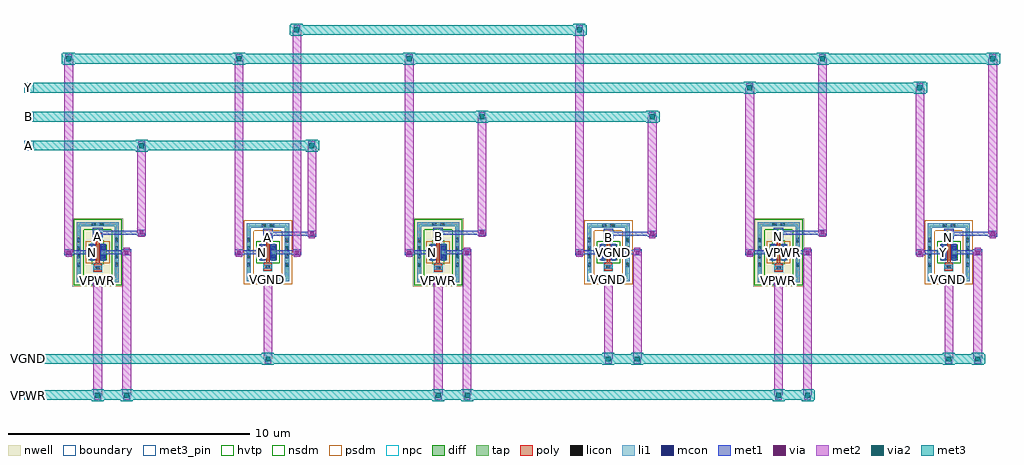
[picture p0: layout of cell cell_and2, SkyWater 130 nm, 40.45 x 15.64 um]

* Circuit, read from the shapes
.subckt cell_and2 A B N N1__N1 VGND VPWR Y
XM1 N1__N1 A N VGND sky130_fd_pr__nfet_01v8 w=0.65 l=0.15
XM2 VGND B N1__N1 VGND sky130_fd_pr__nfet_01v8 w=0.65 l=0.15
XM3 VGND N Y VGND sky130_fd_pr__nfet_01v8 w=0.65 l=0.15
XM4 VPWR A N VPWR sky130_fd_pr__pfet_01v8_hvt w=0.65 l=0.15
XM5 VPWR B N VPWR sky130_fd_pr__pfet_01v8_hvt w=0.65 l=0.15
XM6 VPWR N Y VPWR sky130_fd_pr__pfet_01v8_hvt w=0.65 l=0.15
.ends

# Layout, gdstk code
import gdstk
lib = gdstk.Library(unit=1e-6, precision=1e-09)
def R(c, l, rs):  # rectangles x0, y0, x1, y1
    for r in rs: c.add(gdstk.rectangle(r[:2], r[2:], *l))
def A(c, l, x, y, w, h, nx, ny, dx, dy):  # array of equal rectangles
    R(c, l, [(x+i*dx, y+j*dy, x+i*dx+w, y+j*dy+h) for i in range(nx) for j in range(ny)])
nwell = (64, 20)
diff = (65, 20)
tap = (65, 44)
poly = (66, 20)
licon = (66, 44)
li1 = (67, 20)
mcon = (67, 44)
met1 = (68, 20)
via = (68, 44)
met2 = (69, 20)
via2 = (69, 44)
met3_pin = (70, 16)
met3 = (70, 20)
hvtp = (78, 44)
nsdm = (93, 44)
psdm = (94, 20)
npc = (95, 20)
boundary = (235, 4)

cell_and2 = lib.new_cell('cell_and2')
A(cell_and2, nwell, 0, -1.42, 2.11, 2.84, 3, 1, 14.11, 0)
A(cell_and2, diff, 0.69, -0.325, 0.73, 0.65, 6, 1, 7.055, 0)
A(cell_and2, tap, 0.18, -1.24, 1.75, 0.17, 3, 2, 14.11, 2.31)
A(cell_and2, tap, 7.235, -1.195, 1.75, 0.17, 3, 2, 14.11, 2.22)
R(cell_and2, tap, [(0.18,-1.07,0.35,1.07), (1.76,-1.07,1.93,1.07), (14.29,-1.07,14.46,1.07), (15.87,-1.07,16.04,1.07), (28.4,-1.07,28.57,1.07), (29.98,-1.07,30.15,1.07), (7.235,-1.025,7.405,1.025), (8.815,-1.025,8.985,1.025), (21.345,-1.025,21.515,1.025), (22.925,-1.025,23.095,1.025), (35.455,-1.025,35.625,1.025), (37.035,-1.025,37.205,1.025)])
A(cell_and2, poly, 0.89, -0.81, 0.33, 0.33, 3, 2, 14.11, 1.29)
A(cell_and2, poly, 7.945, -0.765, 0.33, 0.33, 3, 2, 14.11, 1.2)
A(cell_and2, poly, 0.98, -0.48, 0.15, 0.96, 3, 1, 14.11, 0)
A(cell_and2, poly, 8.035, -0.435, 0.15, 0.87, 3, 1, 14.11, 0)
A(cell_and2, licon, 0.97, -0.73, 0.17, 0.17, 3, 2, 14.11, 1.29)
A(cell_and2, licon, 8.025, -0.685, 0.17, 0.17, 3, 2, 14.11, 1.2)
A(cell_and2, licon, 0.18, -0.595, 0.17, 0.17, 1, 4, 0, 0.34)
A(cell_and2, licon, 1.76, -0.595, 0.17, 0.17, 1, 4, 0, 0.34)
A(cell_and2, licon, 7.235, -0.595, 0.17, 0.17, 1, 4, 0, 0.34)
A(cell_and2, licon, 8.815, -0.595, 0.17, 0.17, 1, 4, 0, 0.34)
A(cell_and2, licon, 14.29, -0.595, 0.17, 0.17, 1, 4, 0, 0.34)
A(cell_and2, licon, 15.87, -0.595, 0.17, 0.17, 1, 4, 0, 0.34)
A(cell_and2, licon, 21.345, -0.595, 0.17, 0.17, 1, 4, 0, 0.34)
A(cell_and2, licon, 22.925, -0.595, 0.17, 0.17, 1, 4, 0, 0.34)
A(cell_and2, licon, 28.4, -0.595, 0.17, 0.17, 1, 4, 0, 0.34)
A(cell_and2, licon, 29.98, -0.595, 0.17, 0.17, 1, 4, 0, 0.34)
A(cell_and2, licon, 35.455, -0.595, 0.17, 0.17, 1, 4, 0, 0.34)
A(cell_and2, licon, 37.035, -0.595, 0.17, 0.17, 1, 4, 0, 0.34)
R(cell_and2, licon, [(0.8,-1.24,0.97,-1.07), (1.14,-1.24,1.31,-1.07), (14.91,-1.24,15.08,-1.07), (15.25,-1.24,15.42,-1.07), (29.02,-1.24,29.19,-1.07), (29.36,-1.24,29.53,-1.07), (7.855,-1.195,8.025,-1.025), (8.195,-1.195,8.365,-1.025), (21.965,-1.195,22.135,-1.025), (22.305,-1.195,22.475,-1.025), (36.075,-1.195,36.245,-1.025), (36.415,-1.195,36.585,-1.025), (0.75,-0.255,0.92,-0.085), (1.19,-0.255,1.36,-0.085), (7.805,-0.255,7.975,-0.085), (8.245,-0.255,8.415,-0.085), (14.86,-0.255,15.03,-0.085), (15.3,-0.255,15.47,-0.085), (21.915,-0.255,22.085,-0.085), (22.355,-0.255,22.525,-0.085), (28.97,-0.255,29.14,-0.085), (29.41,-0.255,29.58,-0.085), (36.025,-0.255,36.195,-0.085), (36.465,-0.255,36.635,-0.085), (0.75,0.085,0.92,0.255), (1.19,0.085,1.36,0.255), (7.805,0.085,7.975,0.255), (8.245,0.085,8.415,0.255), (14.86,0.085,15.03,0.255), (15.3,0.085,15.47,0.255), (21.915,0.085,22.085,0.255), (22.355,0.085,22.525,0.255), (28.97,0.085,29.14,0.255), (29.41,0.085,29.58,0.255), (36.025,0.085,36.195,0.255), (36.465,0.085,36.635,0.255), (7.855,1.025,8.025,1.195), (8.195,1.025,8.365,1.195), (21.965,1.025,22.135,1.195), (22.305,1.025,22.475,1.195), (36.075,1.025,36.245,1.195), (36.415,1.025,36.585,1.195), (0.8,1.07,0.97,1.24), (1.14,1.07,1.31,1.24), (14.91,1.07,15.08,1.24), (15.25,1.07,15.42,1.24), (29.02,1.07,29.19,1.24), (29.36,1.07,29.53,1.24)])
A(cell_and2, li1, 0.18, -1.24, 1.75, 0.17, 3, 2, 14.11, 2.31)
A(cell_and2, li1, 7.235, -1.195, 1.75, 0.17, 3, 2, 14.11, 2.22)
A(cell_and2, li1, 0.89, -0.73, 0.33, 0.17, 3, 2, 14.11, 1.29)
A(cell_and2, li1, 7.945, -0.685, 0.33, 0.17, 3, 2, 14.11, 1.2)
A(cell_and2, li1, 8.025, 0.515, 0.17, 0.34, 3, 1, 14.11, 0)
A(cell_and2, li1, 0.97, 0.56, 0.17, 0.34, 3, 1, 14.11, 0)
R(cell_and2, li1, [(0.18,-1.07,0.35,1.07), (1.76,-1.07,1.93,1.07), (14.29,-1.07,14.46,1.07), (15.87,-1.07,16.04,1.07), (28.4,-1.07,28.57,1.07), (29.98,-1.07,30.15,1.07), (7.235,-1.025,7.405,1.025), (8.815,-1.025,8.985,1.025), (21.345,-1.025,21.515,1.025), (22.925,-1.025,23.095,1.025), (35.455,-1.025,35.625,1.025), (37.035,-1.025,37.205,1.025), (0.75,-0.345,0.92,0.345), (1.19,-0.345,1.36,0.345), (7.805,-0.345,7.975,0.345), (8.245,-0.345,8.415,0.345), (14.86,-0.345,15.03,0.345), (15.3,-0.345,15.47,0.345), (21.915,-0.345,22.085,0.345), (22.355,-0.345,22.525,0.345), (28.97,-0.345,29.14,0.345), (29.41,-0.345,29.58,0.345), (36.025,-0.345,36.195,0.345), (36.465,-0.345,36.635,0.345)])
A(cell_and2, mcon, 0.97, -1.24, 0.17, 0.17, 3, 2, 14.11, 1.97)
A(cell_and2, mcon, 8.025, -1.195, 0.17, 0.17, 3, 2, 14.11, 1.88)
R(cell_and2, mcon, [(0.75,-0.265,0.92,-0.095), (1.19,-0.265,1.36,-0.095), (7.805,-0.265,7.975,-0.095), (8.245,-0.265,8.415,-0.095), (14.86,-0.265,15.03,-0.095), (15.3,-0.265,15.47,-0.095), (21.915,-0.265,22.085,-0.095), (22.355,-0.265,22.525,-0.095), (28.97,-0.265,29.14,-0.095), (29.41,-0.265,29.58,-0.095), (36.025,-0.265,36.195,-0.095), (36.465,-0.265,36.635,-0.095), (0.75,0.095,0.92,0.265), (1.19,0.095,1.36,0.265), (7.805,0.095,7.975,0.265), (8.245,0.095,8.415,0.265), (14.86,0.095,15.03,0.265), (15.3,0.095,15.47,0.265), (21.915,0.095,22.085,0.265), (22.355,0.095,22.525,0.265), (28.97,0.095,29.14,0.265), (29.41,0.095,29.58,0.265), (36.025,0.095,36.195,0.265), (36.465,0.095,36.635,0.265)])
A(cell_and2, met1, 0.855, -1.355, 0.4, 0.4, 3, 2, 14.11, 1.97)
A(cell_and2, met1, 7.91, -1.31, 0.4, 0.4, 3, 2, 14.11, 1.88)
A(cell_and2, met1, 0.875, -1.285, 0.36, 0.26, 3, 1, 14.11, 0)
A(cell_and2, met1, 7.93, -1.24, 0.36, 0.26, 3, 1, 14.11, 0)
A(cell_and2, met1, 9.75, 0.64, 0.36, 0.26, 3, 1, 14.11, 0)
A(cell_and2, met1, 2.695, 0.685, 0.36, 0.26, 3, 1, 14.11, 0)
R(cell_and2, met1, [(0.72,-0.325,0.95,0.325), (1.16,-0.325,1.39,0.325), (7.775,-0.325,8.005,0.325), (8.215,-0.325,8.445,0.325), (14.83,-0.325,15.06,0.325), (15.27,-0.325,15.5,0.325), (21.885,-0.325,22.115,0.325), (22.325,-0.325,22.555,0.325), (28.94,-0.325,29.17,0.325), (29.38,-0.325,29.61,0.325), (35.995,-0.325,36.225,0.325), (36.435,-0.325,36.665,0.325), (-0.325,-0.13,0.035,0.13), (2.075,-0.13,2.435,0.13), (6.73,-0.13,7.09,0.13), (9.13,-0.13,9.49,0.13), (13.785,-0.13,14.145,0.13), (16.185,-0.13,16.545,0.13), (20.84,-0.13,21.2,0.13), (23.24,-0.13,23.6,0.13), (27.895,-0.13,28.255,0.13), (30.295,-0.13,30.655,0.13), (34.95,-0.13,35.31,0.13), (37.35,-0.13,37.71,0.13)])
A(cell_and2, via, 0.98, -1.23, 0.15, 0.15, 3, 1, 14.11, 0)
A(cell_and2, via, 8.035, -1.185, 0.15, 0.15, 3, 1, 14.11, 0)
A(cell_and2, via, 9.855, 0.695, 0.15, 0.15, 3, 1, 14.11, 0)
A(cell_and2, via, 2.8, 0.74, 0.15, 0.15, 3, 1, 14.11, 0)
R(cell_and2, via, [(-0.22,-0.075,-0.07,0.075), (2.18,-0.075,2.33,0.075), (6.835,-0.075,6.985,0.075), (9.235,-0.075,9.385,0.075), (13.89,-0.075,14.04,0.075), (16.29,-0.075,16.44,0.075), (20.945,-0.075,21.095,0.075), (23.345,-0.075,23.495,0.075), (28,-0.075,28.15,0.075), (30.4,-0.075,30.55,0.075), (35.055,-0.075,35.205,0.075), (37.455,-0.075,37.605,0.075)])
A(cell_and2, met2, 0.925, -1.335, 0.26, 0.36, 3, 1, 14.11, 0)
A(cell_and2, met2, 7.98, -1.29, 0.26, 0.36, 3, 1, 14.11, 0)
A(cell_and2, met2, 9.8, 0.59, 0.26, 0.36, 3, 1, 14.11, 0)
A(cell_and2, met2, 2.745, 0.635, 0.26, 0.36, 3, 1, 14.11, 0)
A(cell_and2, met2, -0.285, 7.83, 0.28, 0.38, 3, 1, 7.055, 0)
R(cell_and2, met2, [(0.915,-6.11,1.195,-5.73), (2.115,-6.11,2.395,-5.73), (15.025,-6.11,15.305,-5.73), (16.225,-6.11,16.505,-5.73), (29.135,-6.11,29.415,-5.73), (30.335,-6.11,30.615,-5.73), (7.97,-4.61,8.25,-4.23), (22.08,-4.61,22.36,-4.23), (23.28,-4.61,23.56,-4.23), (36.19,-4.61,36.47,-4.23), (37.39,-4.61,37.67,-4.23), (-0.275,-0.18,-0.015,0.18), (2.125,-0.18,2.385,0.18), (6.78,-0.18,7.04,0.18), (9.18,-0.18,9.44,0.18), (13.835,-0.18,14.095,0.18), (16.235,-0.18,16.495,0.18), (20.89,-0.18,21.15,0.18), (23.29,-0.18,23.55,0.18), (27.945,-0.18,28.205,0.18), (30.345,-0.18,30.605,0.18), (35,-0.18,35.26,0.18), (37.4,-0.18,37.66,0.18), (2.735,4.23,3.015,4.61), (9.79,4.23,10.07,4.61), (16.845,5.43,17.125,5.81), (23.9,5.43,24.18,5.81), (27.935,6.63,28.215,7.01), (34.99,6.63,35.27,7.01), (30.955,7.83,31.235,8.21), (38.01,7.83,38.29,8.21), (9.17,9.03,9.45,9.41), (20.88,9.03,21.16,9.41)])
A(cell_and2, via2, -0.245, 7.92, 0.2, 0.2, 3, 1, 7.055, 0)
R(cell_and2, via2, [(0.955,-6.02,1.155,-5.82), (2.155,-6.02,2.355,-5.82), (15.065,-6.02,15.265,-5.82), (16.265,-6.02,16.465,-5.82), (29.175,-6.02,29.375,-5.82), (30.375,-6.02,30.575,-5.82), (8.01,-4.52,8.21,-4.32), (22.12,-4.52,22.32,-4.32), (23.32,-4.52,23.52,-4.32), (36.23,-4.52,36.43,-4.32), (37.43,-4.52,37.63,-4.32), (2.775,4.32,2.975,4.52), (9.83,4.32,10.03,4.52), (16.885,5.52,17.085,5.72), (23.94,5.52,24.14,5.72), (27.975,6.72,28.175,6.92), (35.03,6.72,35.23,6.92), (30.995,7.92,31.195,8.12), (38.05,7.92,38.25,8.12), (9.21,9.12,9.41,9.32), (20.92,9.12,21.12,9.32)])
A(cell_and2, met3_pin, -2, 4.22, 0.4, 0.4, 1, 3, 0, 1.2)
R(cell_and2, met3_pin, [(-2,-6.12,-1.6,-5.72), (-2,-4.62,-1.6,-4.22)])
A(cell_and2, met3, -0.395, 7.77, 0.5, 0.5, 3, 1, 7.055, 0)
R(cell_and2, met3, [(0.805,-6.17,1.305,-5.67), (2.005,-6.17,2.505,-5.67), (14.915,-6.17,15.415,-5.67), (16.115,-6.17,16.615,-5.67), (29.025,-6.17,29.525,-5.67), (30.225,-6.17,30.725,-5.67), (7.86,-4.67,8.36,-4.17), (21.97,-4.67,22.47,-4.17), (23.17,-4.67,23.67,-4.17), (36.08,-4.67,36.58,-4.17), (37.28,-4.67,37.78,-4.17), (2.625,4.17,3.125,4.67), (9.68,4.17,10.18,4.67), (16.735,5.37,17.235,5.87), (23.79,5.37,24.29,5.87), (27.825,6.57,28.325,7.07), (34.88,6.57,35.38,7.07), (30.845,7.77,31.345,8.27), (37.9,7.77,38.4,8.27), (9.06,8.97,9.56,9.47), (20.77,8.97,21.27,9.47)])
A(cell_and2, hvtp, 0.8, -0.505, 0.51, 1.01, 3, 1, 14.11, 0)
A(cell_and2, nsdm, 0.055, -1.365, 2, 0.42, 3, 2, 14.11, 2.31)
A(cell_and2, nsdm, 7.62, -0.45, 0.98, 0.9, 3, 1, 14.11, 0)
R(cell_and2, nsdm, [(0.055,-0.945,0.475,0.945), (1.635,-0.945,2.055,0.945), (14.165,-0.945,14.585,0.945), (15.745,-0.945,16.165,0.945), (28.275,-0.945,28.695,0.945), (29.855,-0.945,30.275,0.945)])
A(cell_and2, psdm, 7.11, -1.32, 2, 0.42, 3, 2, 14.11, 2.22)
A(cell_and2, psdm, 0.565, -0.45, 0.98, 0.9, 3, 1, 14.11, 0)
R(cell_and2, psdm, [(7.11,-0.9,7.53,0.9), (8.69,-0.9,9.11,0.9), (21.22,-0.9,21.64,0.9), (22.8,-0.9,23.22,0.9), (35.33,-0.9,35.75,0.9), (36.91,-0.9,37.33,0.9)])
A(cell_and2, npc, 0.87, -0.83, 0.37, 0.37, 3, 2, 14.11, 1.29)
A(cell_and2, npc, 7.925, -0.785, 0.37, 0.37, 3, 2, 14.11, 1.2)
A(cell_and2, boundary, 0.265, -1.155, 1.58, 2.31, 3, 1, 14.11, 0)
A(cell_and2, boundary, 7.32, -1.11, 1.58, 2.22, 3, 1, 14.11, 0)
cell_and2.add(gdstk.FlexPath([(36.55,0),(37.53,0)], 0.17, ends="flush", simple_path=True, layer=68, datatype=20))  # met1
cell_and2.add(gdstk.FlexPath([(29.275,-1.155),(29.275,-1.155)], 0.17, ends="flush", simple_path=True, layer=68, datatype=20))  # met1
cell_and2.add(gdstk.FlexPath([(29.275,0.815),(31.095,0.815)], 0.17, ends="flush", simple_path=True, layer=68, datatype=20))  # met1
cell_and2.add(gdstk.FlexPath([(29.055,0),(28.075,0)], 0.17, ends="flush", simple_path=True, layer=68, datatype=20))  # met1
cell_and2.add(gdstk.FlexPath([(22.44,0),(23.42,0)], 0.17, ends="flush", simple_path=True, layer=68, datatype=20))  # met1
cell_and2.add(gdstk.FlexPath([(22.22,0.77),(24.04,0.77)], 0.17, ends="flush", simple_path=True, layer=68, datatype=20))  # met1
cell_and2.add(gdstk.FlexPath([(36.33,-1.11),(36.33,-1.11)], 0.17, ends="flush", simple_path=True, layer=68, datatype=20))  # met1
cell_and2.add(gdstk.FlexPath([(29.495,0),(30.475,0)], 0.17, ends="flush", simple_path=True, layer=68, datatype=20))  # met1
cell_and2.add(gdstk.FlexPath([(0.835,0),(-0.145,0)], 0.17, ends="flush", simple_path=True, layer=68, datatype=20))  # met1
cell_and2.add(gdstk.FlexPath([(14.945,0),(13.965,0)], 0.17, ends="flush", simple_path=True, layer=68, datatype=20))  # met1
cell_and2.add(gdstk.FlexPath([(1.055,0.815),(2.875,0.815)], 0.17, ends="flush", simple_path=True, layer=68, datatype=20))  # met1
cell_and2.add(gdstk.FlexPath([(36.33,0.77),(38.15,0.77)], 0.17, ends="flush", simple_path=True, layer=68, datatype=20))  # met1
cell_and2.add(gdstk.FlexPath([(1.275,0),(2.255,0)], 0.17, ends="flush", simple_path=True, layer=68, datatype=20))  # met1
cell_and2.add(gdstk.FlexPath([(15.165,-1.155),(15.165,-1.155)], 0.17, ends="flush", simple_path=True, layer=68, datatype=20))  # met1
cell_and2.add(gdstk.FlexPath([(7.89,0),(6.91,0)], 0.17, ends="flush", simple_path=True, layer=68, datatype=20))  # met1
cell_and2.add(gdstk.FlexPath([(1.055,-1.155),(1.055,-1.155)], 0.17, ends="flush", simple_path=True, layer=68, datatype=20))  # met1
cell_and2.add(gdstk.FlexPath([(8.11,0.77),(9.93,0.77)], 0.17, ends="flush", simple_path=True, layer=68, datatype=20))  # met1
cell_and2.add(gdstk.FlexPath([(36.11,0),(35.13,0)], 0.17, ends="flush", simple_path=True, layer=68, datatype=20))  # met1
cell_and2.add(gdstk.FlexPath([(8.33,0),(9.31,0)], 0.17, ends="flush", simple_path=True, layer=68, datatype=20))  # met1
cell_and2.add(gdstk.FlexPath([(8.11,-1.11),(8.11,-1.11)], 0.17, ends="flush", simple_path=True, layer=68, datatype=20))  # met1
cell_and2.add(gdstk.FlexPath([(22.22,-1.11),(22.22,-1.11)], 0.17, ends="flush", simple_path=True, layer=68, datatype=20))  # met1
cell_and2.add(gdstk.FlexPath([(22,0),(21.02,0)], 0.17, ends="flush", simple_path=True, layer=68, datatype=20))  # met1
cell_and2.add(gdstk.FlexPath([(15.165,0.815),(16.985,0.815)], 0.17, ends="flush", simple_path=True, layer=68, datatype=20))  # met1
cell_and2.add(gdstk.FlexPath([(15.385,0),(16.365,0)], 0.17, ends="flush", simple_path=True, layer=68, datatype=20))  # met1
cell_and2.add(gdstk.FlexPath([(37.53,0),(37.53,-4.42)], 0.36, ends="flush", simple_path=True, layer=69, datatype=20))  # met2
cell_and2.add(gdstk.FlexPath([(36.33,-1.11),(36.33,-4.42)], 0.36, ends="flush", simple_path=True, layer=69, datatype=20))  # met2
cell_and2.add(gdstk.FlexPath([(35.13,0),(35.13,6.82)], 0.36, ends="flush", simple_path=True, layer=69, datatype=20))  # met2
cell_and2.add(gdstk.FlexPath([(28.075,0),(28.075,6.82)], 0.36, ends="flush", simple_path=True, layer=69, datatype=20))  # met2
cell_and2.add(gdstk.FlexPath([(22.22,-1.11),(22.22,-4.42)], 0.36, ends="flush", simple_path=True, layer=69, datatype=20))  # met2
cell_and2.add(gdstk.FlexPath([(24.04,0.77),(24.04,5.62)], 0.36, ends="flush", simple_path=True, layer=69, datatype=20))  # met2
cell_and2.add(gdstk.FlexPath([(-0.145,0),(-0.145,8.02)], 0.36, ends="flush", simple_path=True, layer=69, datatype=20))  # met2
cell_and2.add(gdstk.FlexPath([(29.275,-1.155),(29.275,-5.92)], 0.36, ends="flush", simple_path=True, layer=69, datatype=20))  # met2
cell_and2.add(gdstk.FlexPath([(13.965,0),(13.965,8.02)], 0.36, ends="flush", simple_path=True, layer=69, datatype=20))  # met2
cell_and2.add(gdstk.FlexPath([(6.91,0),(6.91,8.02)], 0.36, ends="flush", simple_path=True, layer=69, datatype=20))  # met2
cell_and2.add(gdstk.FlexPath([(2.255,0),(2.255,-5.92)], 0.36, ends="flush", simple_path=True, layer=69, datatype=20))  # met2
cell_and2.add(gdstk.FlexPath([(31.095,0.815),(31.095,8.02)], 0.36, ends="flush", simple_path=True, layer=69, datatype=20))  # met2
cell_and2.add(gdstk.FlexPath([(9.93,0.77),(9.93,4.42)], 0.36, ends="flush", simple_path=True, layer=69, datatype=20))  # met2
cell_and2.add(gdstk.FlexPath([(21.02,0),(21.02,9.22)], 0.36, ends="flush", simple_path=True, layer=69, datatype=20))  # met2
cell_and2.add(gdstk.FlexPath([(1.055,-1.155),(1.055,-5.92)], 0.36, ends="flush", simple_path=True, layer=69, datatype=20))  # met2
cell_and2.add(gdstk.FlexPath([(9.31,0),(9.31,9.22)], 0.36, ends="flush", simple_path=True, layer=69, datatype=20))  # met2
cell_and2.add(gdstk.FlexPath([(38.15,0.77),(38.15,8.02)], 0.36, ends="flush", simple_path=True, layer=69, datatype=20))  # met2
cell_and2.add(gdstk.FlexPath([(23.42,0),(23.42,-4.42)], 0.36, ends="flush", simple_path=True, layer=69, datatype=20))  # met2
cell_and2.add(gdstk.FlexPath([(2.875,0.815),(2.875,4.42)], 0.36, ends="flush", simple_path=True, layer=69, datatype=20))  # met2
cell_and2.add(gdstk.FlexPath([(8.11,-1.11),(8.11,-4.42)], 0.36, ends="flush", simple_path=True, layer=69, datatype=20))  # met2
cell_and2.add(gdstk.FlexPath([(16.985,0.815),(16.985,5.62)], 0.36, ends="flush", simple_path=True, layer=69, datatype=20))  # met2
cell_and2.add(gdstk.FlexPath([(30.475,0),(30.475,-5.92)], 0.36, ends="flush", simple_path=True, layer=69, datatype=20))  # met2
cell_and2.add(gdstk.FlexPath([(16.365,0),(16.365,-5.92)], 0.36, ends="flush", simple_path=True, layer=69, datatype=20))  # met2
cell_and2.add(gdstk.FlexPath([(15.165,-1.155),(15.165,-5.92)], 0.36, ends="flush", simple_path=True, layer=69, datatype=20))  # met2
cell_and2.add(gdstk.FlexPath([(-1.8,-5.92),(30.775,-5.92)], 0.4, ends="flush", simple_path=True, layer=70, datatype=20))  # met3
cell_and2.add(gdstk.FlexPath([(-1.8,-4.42),(37.83,-4.42)], 0.4, ends="flush", simple_path=True, layer=70, datatype=20))  # met3
cell_and2.add(gdstk.FlexPath([(9.01,9.22),(21.32,9.22)], 0.4, ends="flush", simple_path=True, layer=70, datatype=20))  # met3
cell_and2.add(gdstk.FlexPath([(-0.445,8.02),(38.45,8.02)], 0.4, ends="flush", simple_path=True, layer=70, datatype=20))  # met3
cell_and2.add(gdstk.FlexPath([(-1.8,6.82),(35.43,6.82)], 0.4, ends="flush", simple_path=True, layer=70, datatype=20))  # met3
cell_and2.add(gdstk.FlexPath([(-1.8,5.62),(24.34,5.62)], 0.4, ends="flush", simple_path=True, layer=70, datatype=20))  # met3
cell_and2.add(gdstk.FlexPath([(-1.8,4.42),(10.23,4.42)], 0.4, ends="flush", simple_path=True, layer=70, datatype=20))  # met3
cell_and2.add(gdstk.Label('Y', (36.11,0), layer=67, texttype=5))
cell_and2.add(gdstk.Label('VPWR', (29.495,0), layer=67, texttype=5))
cell_and2.add(gdstk.Label('Y', (29.055,0), layer=67, texttype=5))
cell_and2.add(gdstk.Label('VGND', (36.33,-1.11), layer=67, texttype=5))
cell_and2.add(gdstk.Label('B', (22.22,0.6), layer=67, texttype=5))
cell_and2.add(gdstk.Label('VGND', (36.55,0), layer=67, texttype=5))
cell_and2.add(gdstk.Label('VGND', (22.44,0), layer=67, texttype=5))
cell_and2.add(gdstk.Label('N', (36.33,0.6), layer=67, texttype=5))
cell_and2.add(gdstk.Label('VPWR', (1.055,-1.155), layer=67, texttype=5))
cell_and2.add(gdstk.Label('N', (29.275,0.645), layer=67, texttype=5))
cell_and2.add(gdstk.Label('N', (0.835,0), layer=67, texttype=5))
cell_and2.add(gdstk.Label('VPWR', (1.275,0), layer=67, texttype=5))
cell_and2.add(gdstk.Label('N1__N1', (22,0), layer=67, texttype=5))
cell_and2.add(gdstk.Label('A', (1.055,0.645), layer=67, texttype=5))
cell_and2.add(gdstk.Label('VGND', (8.11,-1.11), layer=67, texttype=5))
cell_and2.add(gdstk.Label('N', (7.89,0), layer=67, texttype=5))
cell_and2.add(gdstk.Label('N1__N1', (8.33,0), layer=67, texttype=5))
cell_and2.add(gdstk.Label('VPWR', (29.275,-1.155), layer=67, texttype=5))
cell_and2.add(gdstk.Label('N', (14.945,0), layer=67, texttype=5))
cell_and2.add(gdstk.Label('VPWR', (15.165,-1.155), layer=67, texttype=5))
cell_and2.add(gdstk.Label('A', (8.11,0.6), layer=67, texttype=5))
cell_and2.add(gdstk.Label('B', (15.165,0.645), layer=67, texttype=5))
cell_and2.add(gdstk.Label('VPWR', (15.385,0), layer=67, texttype=5))
cell_and2.add(gdstk.Label('VGND', (22.22,-1.11), layer=67, texttype=5))
cell_and2.add(gdstk.Label('VPWR', (-1.8,-5.92), layer=70, texttype=5))
cell_and2.add(gdstk.Label('VGND', (-1.8,-4.42), layer=70, texttype=5))
cell_and2.add(gdstk.Label('Y', (-1.8,6.82), layer=70, texttype=5))
cell_and2.add(gdstk.Label('B', (-1.8,5.62), layer=70, texttype=5))
cell_and2.add(gdstk.Label('A', (-1.8,4.42), layer=70, texttype=5))

lib.write_gds('cell_and2.gds')
